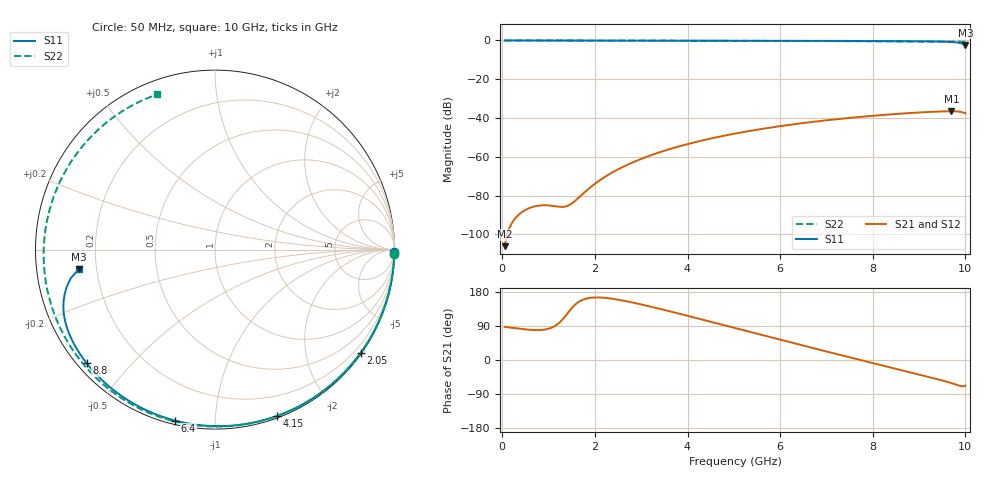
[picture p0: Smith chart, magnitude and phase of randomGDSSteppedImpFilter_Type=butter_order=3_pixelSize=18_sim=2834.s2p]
! freq	dB(S11)	phase(S11)	dB(S12)	phase(S12)
!  dB(S21)	phase(S21)	dB(S22)	phase(S22)
!S-par simulation data
#  GHz  S  DB  R 50
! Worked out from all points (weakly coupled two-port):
!   200 points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, 50 MHz to 10 GHz, reference 50 ohm
!   highest |S21| = -36.54 dB at 9.7 GHz (marker M1); lowest = -106.1 dB at 50 MHz (marker M2)
!   lowest |S11| = -2.3 dB at 10 GHz (marker M3), VSWR 7.54, Z = 6.67 - j3.51 ohm
!   |S11| at or under -10 dB: nowhere
!   |S22| runs from -0.7 to 0.0 dB; largest |S21 - S12| = 0
!   S11 on the Smith chart (normalised r, x): 50 MHz: open; 2.05 GHz: 0.03, -3.13; 4.15 GHz: 0.02, -1.44; 6.4 GHz: 0.02, -0.79; 8.8 GHz: 0.03, -0.38; 10 GHz: 0.13, -0.07
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0.05  -0.01 -0.9  -106.14 87.6  -106.14 87.6  -0.01 -1.3
0.85  -0.02 -14.9  -85.07 79.4  -85.07 79.4  -0.03 -21.1
1.7  -0.04 -29.5  -80.00 156.8  -80.00 156.8  -0.05 -41.8
1.75  -0.04 -30.3  -78.91 159.6  -78.91 159.6  -0.05 -43.0
2.05  -0.04 -35.4  -73.08 165.1  -73.08 165.1  -0.06 -50.1
2.35  -0.05 -40.4  -68.46 162.1  -68.46 162.1  -0.07 -57.2
2.65  -0.06 -45.4  -64.72 155.8  -64.72 155.8  -0.08 -64.2
3  -0.07 -51.1  -61.10 146.6  -61.10 146.6  -0.09 -72.3
3.4  -0.08 -57.6  -57.67 135.0  -57.67 135.0  -0.11 -81.5
4.15  -0.10 -69.5  -52.57 111.9  -52.57 111.9  -0.14 -98.4
5.05  -0.13 -83.3  -47.95 83.5  -47.95 83.5  -0.18 -118.3
5.7  -0.15 -92.9  -45.29 63.0  -45.29 63.0  -0.22 -132.8
6.4  -0.19 -103.2  -42.91 41.1  -42.91 41.1  -0.28 -148.7
6.7  -0.21 -107.5  -42.02 31.7  -42.02 31.7  -0.30 -155.7
7.55  -0.27 -119.7  -39.84 5.5  -39.84 5.5  -0.39 -176.3
7.95  -0.30 -125.5  -38.97 -6.7  -38.97 -6.7  -0.43 173.3
8.35  -0.34 -131.5  -38.20 -18.8  -38.20 -18.8  -0.48 162.5
8.8  -0.40 -138.5  -37.45 -32.4  -37.45 -32.4  -0.54 149.5
9.35  -0.53 -148.5  -36.74 -49.2  -36.74 -49.2  -0.61 132.5
9.7  -0.80 -157.6  -36.54 -61.0  -36.54 -61.0  -0.66 120.9
9.9  -1.41 -166.1  -36.86 -68.9  -36.86 -68.9  -0.69 114.0
10  -2.32 -171.8  -37.58 -67.7  -37.58 -67.7  -0.70 110.5
